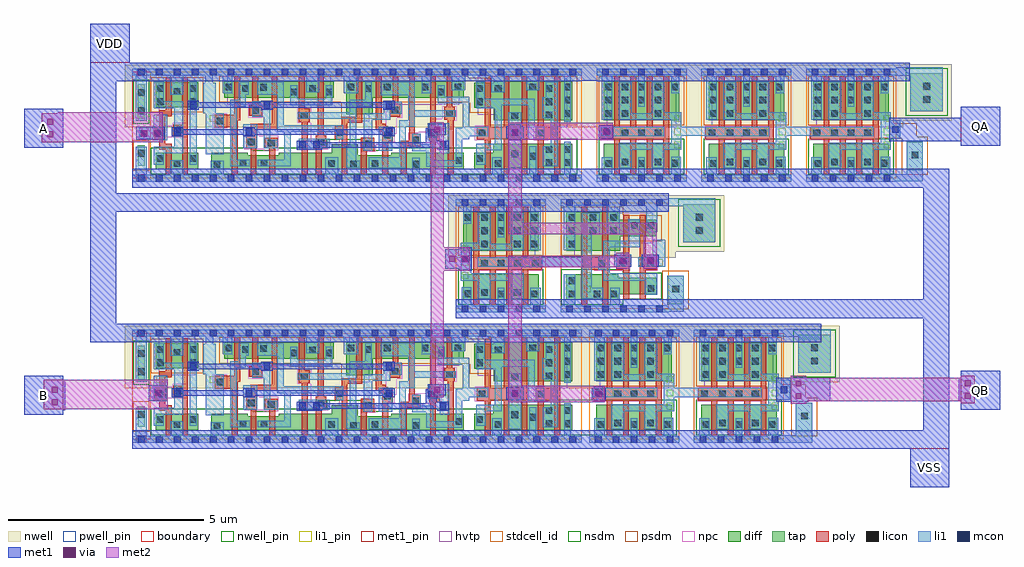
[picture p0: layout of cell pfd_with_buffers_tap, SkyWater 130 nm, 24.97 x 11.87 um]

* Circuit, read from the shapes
.subckt pfd_with_buffers_tap A B QA QB VDD VSS
XM1 VSS B n1 VSS sky130_fd_pr__nfet_01v8 w=0.42 l=0.15
XM2 VSS A n2 VSS sky130_fd_pr__nfet_01v8 w=0.42 l=0.15
XM3 n3 n1 VSS VSS sky130_fd_pr__nfet_01v8 w=0.42 l=0.15
XM4 n4 n2 VSS VSS sky130_fd_pr__nfet_01v8 w=0.42 l=0.15
XM5 n5 VDD VSS VSS sky130_fd_pr__nfet_01v8 w=0.42 l=0.15
XM6 n6 VDD VSS VSS sky130_fd_pr__nfet_01v8 w=0.42 l=0.15
XM7 n7 n1 n5 VSS sky130_fd_pr__nfet_01v8 w=0.36 l=0.15
XM8 n8 n2 n6 VSS sky130_fd_pr__nfet_01v8 w=0.36 l=0.15
XM9 n9 n3 n7 VSS sky130_fd_pr__nfet_01v8 w=0.36 l=0.15
XM10 n10 n4 n8 VSS sky130_fd_pr__nfet_01v8 w=0.36 l=0.15
XM11 n11 n12 n9 VSS sky130_fd_pr__nfet_01v8 w=0.42 l=0.15
XM12 n13 n14 n10 VSS sky130_fd_pr__nfet_01v8 w=0.42 l=0.15
XM13 VSS sky130_fd_sc_hd__dfrbp_2#0_1/RESET_B n11 VSS sky130_fd_pr__nfet_01v8 w=0.42 l=0.15
XM14 VSS sky130_fd_sc_hd__dfrbp_2#0_1/RESET_B n13 VSS sky130_fd_pr__nfet_01v8 w=0.42 l=0.15
XM15 n12 n7 VSS VSS sky130_fd_pr__nfet_01v8 w=0.64 l=0.15
XM16 n14 n8 VSS VSS sky130_fd_pr__nfet_01v8 w=0.64 l=0.15
XM17 n15 n3 n12 VSS sky130_fd_pr__nfet_01v8 w=0.36 l=0.15
XM18 n16 n4 n14 VSS sky130_fd_pr__nfet_01v8 w=0.36 l=0.15
XM19 n17 n1 n15 VSS sky130_fd_pr__nfet_01v8 w=0.36 l=0.15
XM20 n18 n2 n16 VSS sky130_fd_pr__nfet_01v8 w=0.36 l=0.15
XM21 VSS n19 n17 VSS sky130_fd_pr__nfet_01v8 w=0.42 l=0.15
XM22 VSS n20 n18 VSS sky130_fd_pr__nfet_01v8 w=0.42 l=0.15
XM23 n21 sky130_fd_sc_hd__dfrbp_2#0_1/RESET_B VSS VSS sky130_fd_pr__nfet_01v8 w=0.42 l=0.15
XM24 n22 sky130_fd_sc_hd__dfrbp_2#0_1/RESET_B VSS VSS sky130_fd_pr__nfet_01v8 w=0.42 l=0.15
XM25 n19 n15 n21 VSS sky130_fd_pr__nfet_01v8 w=0.42 l=0.15
XM26 n20 n16 n22 VSS sky130_fd_pr__nfet_01v8 w=0.42 l=0.15
XM27 sky130_fd_sc_hd__dfrbp_2#0_1/RESET_B sky130_fd_sc_hd__inv_4#0_5/A VSS VSS sky130_fd_pr__nfet_01v8 w=0.65 l=0.15 m=4
XM28 VSS n19 n23 VSS sky130_fd_pr__nfet_01v8 w=0.42 l=0.15
XM29 VSS n20 n24 VSS sky130_fd_pr__nfet_01v8 w=0.42 l=0.15
XM30 sky130_fd_sc_hd__inv_4#0_2/A n19 VSS VSS sky130_fd_pr__nfet_01v8 w=0.65 l=0.15 m=2
XM31 sky130_fd_sc_hd__and2_2#0_4/A n20 VSS VSS sky130_fd_pr__nfet_01v8 w=0.65 l=0.15 m=2
XM32 sky130_fd_sc_hd__dfrbp_2#0_1/Q_N n23 VSS VSS sky130_fd_pr__nfet_01v8 w=0.65 l=0.15 m=2
XM33 sky130_fd_sc_hd__dfrbp_2#0_7/Q_N n24 VSS VSS sky130_fd_pr__nfet_01v8 w=0.65 l=0.15 m=2
XM34 sky130_fd_sc_hd__inv_4#0_5/A n25 VSS VSS sky130_fd_pr__nfet_01v8 w=0.65 l=0.15 m=2
XM35 sky130_fd_sc_hd__inv_4#0_3/A sky130_fd_sc_hd__inv_4#0_2/A VSS VSS sky130_fd_pr__nfet_01v8 w=0.65 l=0.15 m=4
XM36 sky130_fd_sc_hd__inv_4#0_9/A sky130_fd_sc_hd__and2_2#0_4/A VSS VSS sky130_fd_pr__nfet_01v8 w=0.65 l=0.15 m=4
XM37 n26 sky130_fd_sc_hd__inv_4#0_2/A VSS VSS sky130_fd_pr__nfet_01v8 w=0.42 l=0.15
XM38 n25 sky130_fd_sc_hd__and2_2#0_4/A n26 VSS sky130_fd_pr__nfet_01v8 w=0.42 l=0.15
XM39 QB sky130_fd_sc_hd__inv_4#0_3/A VSS VSS sky130_fd_pr__nfet_01v8 w=0.65 l=0.15 m=4
XM40 sky130_fd_sc_hd__inv_4#0_10/A sky130_fd_sc_hd__inv_4#0_9/A VSS VSS sky130_fd_pr__nfet_01v8 w=0.65 l=0.15 m=4
XM41 QA sky130_fd_sc_hd__inv_4#0_10/A VSS VSS sky130_fd_pr__nfet_01v8 w=0.65 l=0.15 m=4
XM42 VDD B n1 VDD sky130_fd_pr__pfet_01v8_hvt w=0.64 l=0.15
XM43 VDD A n2 VDD sky130_fd_pr__pfet_01v8_hvt w=0.64 l=0.15
XM44 n3 n1 VDD VDD sky130_fd_pr__pfet_01v8_hvt w=0.64 l=0.15
XM45 n4 n2 VDD VDD sky130_fd_pr__pfet_01v8_hvt w=0.64 l=0.15
XM46 n5 VDD VDD VDD sky130_fd_pr__pfet_01v8_hvt w=0.42 l=0.15
XM47 n6 VDD VDD VDD sky130_fd_pr__pfet_01v8_hvt w=0.42 l=0.15
XM48 n7 n3 n5 VDD sky130_fd_pr__pfet_01v8_hvt w=0.42 l=0.15
XM49 n8 n4 n6 VDD sky130_fd_pr__pfet_01v8_hvt w=0.42 l=0.15
XM50 n27 n1 n7 VDD sky130_fd_pr__pfet_01v8_hvt w=0.42 l=0.15
XM51 n28 n2 n8 VDD sky130_fd_pr__pfet_01v8_hvt w=0.42 l=0.15
XM52 VDD n12 n27 VDD sky130_fd_pr__pfet_01v8_hvt w=0.42 l=0.15
XM53 VDD n14 n28 VDD sky130_fd_pr__pfet_01v8_hvt w=0.42 l=0.15
XM54 n27 sky130_fd_sc_hd__dfrbp_2#0_1/RESET_B VDD VDD sky130_fd_pr__pfet_01v8_hvt w=0.42 l=0.15
XM55 n28 sky130_fd_sc_hd__dfrbp_2#0_1/RESET_B VDD VDD sky130_fd_pr__pfet_01v8_hvt w=0.42 l=0.15
XM56 n12 n7 VDD VDD sky130_fd_pr__pfet_01v8_hvt w=0.84 l=0.15
XM57 n14 n8 VDD VDD sky130_fd_pr__pfet_01v8_hvt w=0.84 l=0.15
XM58 n15 n1 n12 VDD sky130_fd_pr__pfet_01v8_hvt w=0.42 l=0.15
XM59 n16 n2 n14 VDD sky130_fd_pr__pfet_01v8_hvt w=0.42 l=0.15
XM60 n29 n3 n15 VDD sky130_fd_pr__pfet_01v8_hvt w=0.42 l=0.15
XM61 n30 n4 n16 VDD sky130_fd_pr__pfet_01v8_hvt w=0.42 l=0.15
XM62 VDD n19 n29 VDD sky130_fd_pr__pfet_01v8_hvt w=0.42 l=0.15
XM63 VDD n20 n30 VDD sky130_fd_pr__pfet_01v8_hvt w=0.42 l=0.15
XM64 n19 sky130_fd_sc_hd__dfrbp_2#0_1/RESET_B VDD VDD sky130_fd_pr__pfet_01v8_hvt w=0.42 l=0.15
XM65 n20 sky130_fd_sc_hd__dfrbp_2#0_1/RESET_B VDD VDD sky130_fd_pr__pfet_01v8_hvt w=0.42 l=0.15
XM66 VDD n15 n19 VDD sky130_fd_pr__pfet_01v8_hvt w=0.42 l=0.15
XM67 VDD n16 n20 VDD sky130_fd_pr__pfet_01v8_hvt w=0.42 l=0.15
XM68 sky130_fd_sc_hd__dfrbp_2#0_1/RESET_B sky130_fd_sc_hd__inv_4#0_5/A VDD VDD sky130_fd_pr__pfet_01v8_hvt w=1 l=0.15 m=4
XM69 VDD n19 n23 VDD sky130_fd_pr__pfet_01v8_hvt w=0.64 l=0.15
XM70 VDD n20 n24 VDD sky130_fd_pr__pfet_01v8_hvt w=0.64 l=0.15
XM71 sky130_fd_sc_hd__inv_4#0_2/A n19 VDD VDD sky130_fd_pr__pfet_01v8_hvt w=1 l=0.15 m=2
XM72 sky130_fd_sc_hd__and2_2#0_4/A n20 VDD VDD sky130_fd_pr__pfet_01v8_hvt w=1 l=0.15 m=2
XM73 sky130_fd_sc_hd__dfrbp_2#0_1/Q_N n23 VDD VDD sky130_fd_pr__pfet_01v8_hvt w=1 l=0.15 m=2
XM74 sky130_fd_sc_hd__dfrbp_2#0_7/Q_N n24 VDD VDD sky130_fd_pr__pfet_01v8_hvt w=1 l=0.15 m=2
XM75 sky130_fd_sc_hd__inv_4#0_5/A n25 VDD VDD sky130_fd_pr__pfet_01v8_hvt w=1 l=0.15 m=2
XM76 sky130_fd_sc_hd__inv_4#0_3/A sky130_fd_sc_hd__inv_4#0_2/A VDD VDD sky130_fd_pr__pfet_01v8_hvt w=1 l=0.15 m=4
XM77 sky130_fd_sc_hd__inv_4#0_9/A sky130_fd_sc_hd__and2_2#0_4/A VDD VDD sky130_fd_pr__pfet_01v8_hvt w=1 l=0.15 m=4
XM78 n25 sky130_fd_sc_hd__inv_4#0_2/A VDD VDD sky130_fd_pr__pfet_01v8_hvt w=0.42 l=0.15
XM79 VDD sky130_fd_sc_hd__and2_2#0_4/A n25 VDD sky130_fd_pr__pfet_01v8_hvt w=0.42 l=0.15
XM80 QB sky130_fd_sc_hd__inv_4#0_3/A VDD VDD sky130_fd_pr__pfet_01v8_hvt w=1 l=0.15 m=4
XM81 sky130_fd_sc_hd__inv_4#0_10/A sky130_fd_sc_hd__inv_4#0_9/A VDD VDD sky130_fd_pr__pfet_01v8_hvt w=1 l=0.15 m=4
XM82 QA sky130_fd_sc_hd__inv_4#0_10/A VDD VDD sky130_fd_pr__pfet_01v8_hvt w=1 l=0.15 m=4
.ends

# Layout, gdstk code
from math import pi, radians
import gdstk
lib = gdstk.Library(unit=1e-6, precision=1e-09)
def R(c, l, rs):  # rectangles x0, y0, x1, y1
    for r in rs: c.add(gdstk.rectangle(r[:2], r[2:], *l))
def A(c, l, x, y, w, h, nx, ny, dx, dy):  # array of equal rectangles
    R(c, l, [(x+i*dx, y+j*dy, x+i*dx+w, y+j*dy+h) for i in range(nx) for j in range(ny)])
nwell_pin = (64, 16)
nwell = (64, 20)
diff = (65, 20)
tap = (65, 44)
poly = (66, 20)
licon = (66, 44)
li1_pin = (67, 16)
li1 = (67, 20)
mcon = (67, 44)
met1_pin = (68, 16)
met1 = (68, 20)
via = (68, 44)
met2 = (69, 20)
hvtp = (78, 44)
stdcell_id = (81, 4)
nsdm = (93, 44)
psdm = (94, 20)
npc = (95, 20)
pwell_pin = (122, 16)
boundary = (235, 4)

sky130_fd_sc_hd__tapvpwr = lib.new_cell('sky130_fd_sc_hd__tapvpwrvgnd_1')
R(sky130_fd_sc_hd__tapvpwr, nwell, [(-0.19,1.305,0.65,2.91)])
R(sky130_fd_sc_hd__tapvpwr, tap, [(0.145,0.32,0.315,0.845), (0.145,1.525,0.315,2.4)])
R(sky130_fd_sc_hd__tapvpwr, licon, [(0.145,0.555,0.315,0.725), (0.145,1.645,0.315,1.815), (0.145,2.11,0.315,2.28)])
R(sky130_fd_sc_hd__tapvpwr, li1, [(0,-0.085,0.46,0.085), (0.085,0.085,0.375,0.81), (0.085,1.47,0.375,2.635), (0,2.635,0.46,2.805)])
R(sky130_fd_sc_hd__tapvpwr, mcon, [(0.145,-0.085,0.315,0.085), (0.145,2.635,0.315,2.805)])
R(sky130_fd_sc_hd__tapvpwr, met1_pin, [(0.105,-0.09,0.36,0.1), (0.11,2.62,0.375,2.765)])
R(sky130_fd_sc_hd__tapvpwr, met1, [(0,-0.24,0.46,0.24), (0,2.48,0.46,2.96)])
R(sky130_fd_sc_hd__tapvpwr, nsdm, [(0.02,1.4,0.44,2.525)])
R(sky130_fd_sc_hd__tapvpwr, psdm, [(0.02,0.195,0.44,0.97)])
R(sky130_fd_sc_hd__tapvpwr, boundary, [(0,0,0.46,2.72)])
sky130_fd_sc_hd__tapvpwr.add(gdstk.Label('VGND', (0.232,0.005), layer=68, texttype=5))
sky130_fd_sc_hd__tapvpwr.add(gdstk.Label('VPWR', (0.242,2.692), layer=68, texttype=5))

sky130_fd_sc_hd__dfrbp_2 = lib.new_cell('sky130_fd_sc_hd__dfrbp_2#0')
R(sky130_fd_sc_hd__dfrbp_2, nwell_pin, [(0.145,2.635,0.315,2.805)])
R(sky130_fd_sc_hd__dfrbp_2, nwell, [(-0.19,1.305,11.23,2.91)])
R(sky130_fd_sc_hd__dfrbp_2, diff, [(0.135,0.235,1.225,0.655), (1.565,0.235,8.025,0.595), (8.295,0.235,10.8,0.655), (1.565,0.595,2.49,0.655), (3.285,0.595,5.315,0.655), (6.165,0.595,8.025,0.655), (4.645,0.655,5.315,0.875), (8.78,0.655,10.8,0.885), (8.79,1.485,10.8,1.805), (5.015,1.645,5.695,2.065), (8.295,1.805,10.8,2.445), (0.135,1.815,1.225,2.455), (1.89,2.065,4.7,2.485), (5.015,2.065,8.015,2.485), (8.79,2.445,10.8,2.485)])
A(sky130_fd_sc_hd__dfrbp_2, poly, 9.5, 0.105, 0.15, 0.89, 3, 1, 0.42, 0)
A(sky130_fd_sc_hd__dfrbp_2, poly, 9.5, 1.325, 0.15, 1.29, 3, 1, 0.42, 0)
R(sky130_fd_sc_hd__dfrbp_2, poly, [(0.395,0.105,0.545,0.73), (0.815,0.105,0.965,1.1), (2.09,0.105,2.24,1.3), (2.565,0.105,2.715,0.765), (3.045,0.105,3.195,0.765), (3.875,0.105,4.025,1.445), (4.235,0.105,4.385,0.765), (4.895,0.105,5.045,1.005), (5.39,0.105,5.54,0.705), (5.935,0.105,6.085,0.945), (6.415,0.105,6.565,0.815), (7.16,0.105,7.31,0.955), (7.615,0.105,7.765,1.495), (8.555,0.105,8.705,0.995), (9.04,0.105,9.19,0.995), (5.39,0.705,5.725,1.035), (0.23,0.73,0.545,0.88), (2.45,0.765,2.72,1.095), (2.93,0.765,3.26,1.035), (4.235,0.765,4.505,1.095), (6.415,0.815,6.925,0.965), (0.23,0.88,0.38,0.995), (5.935,0.945,6.205,1.185), (7.135,0.955,7.405,1.285), (6.62,0.965,6.925,1.145), (0.11,0.995,0.38,1.325), (8.35,0.995,9.65,1.325), (9.86,0.995,10.49,1.325), (4.715,1.005,5.045,1.335), (2.565,1.095,2.72,1.245), (4.29,1.095,4.44,2.615), (0.59,1.1,0.965,1.37), (6.62,1.145,6.77,2.615), (5.875,1.185,6.205,1.245), (2.565,1.245,3.255,1.395), (5.77,1.245,6.205,1.275), (5.77,1.275,6.085,1.335), (7.16,1.285,7.31,2.615), (1.655,1.3,2.24,1.48), (0.23,1.325,0.38,1.59), (8.555,1.325,8.705,2.575), (9.04,1.325,9.19,2.615), (4.895,1.335,5.045,1.42), (5.77,1.335,6.02,1.395), (0.815,1.37,0.965,2.585), (3.105,1.395,3.255,2.615), (5.77,1.395,5.92,2.615), (4.895,1.42,5.425,1.57), (3.805,1.445,4.08,1.775), (1.655,1.48,2.3,1.63), (7.52,1.495,7.79,1.825), (5.275,1.57,5.425,2.615), (6.13,1.575,6.4,1.905), (0.23,1.59,0.545,1.74), (2.53,1.605,2.86,1.875), (2.15,1.63,2.3,2.615), (0.395,1.74,0.545,2.585), (3.805,1.775,3.955,2.615), (7.58,1.825,7.73,2.615), (2.61,1.875,2.76,2.615), (6.2,1.905,6.35,2.615)])
A(sky130_fd_sc_hd__dfrbp_2, licon, 10.12, 1.535, 0.17, 0.17, 1, 3, 0, 0.34)
A(sky130_fd_sc_hd__dfrbp_2, licon, 10.59, 1.575, 0.17, 0.17, 1, 3, 0, 0.34)
R(sky130_fd_sc_hd__dfrbp_2, licon, [(1.625,0.275,1.795,0.445), (5.115,0.275,5.285,0.445), (6.725,0.275,6.895,0.445), (0.595,0.295,0.765,0.465), (4.555,0.295,4.725,0.465), (5.665,0.295,5.835,0.465), (8.82,0.295,8.99,0.465), (2.29,0.305,2.46,0.475), (2.825,0.305,2.995,0.475), (10.12,0.315,10.29,0.485), (10.59,0.315,10.76,0.485), (7.815,0.375,7.985,0.545), (0.175,0.425,0.345,0.595), (1.015,0.425,1.185,0.595), (8.335,0.425,8.505,0.595), (9.7,0.48,9.87,0.65), (9.24,0.545,9.41,0.715), (10.12,0.655,10.29,0.825), (10.59,0.655,10.76,0.825), (5.505,0.785,5.675,0.955), (3.01,0.815,3.18,0.985), (2.5,0.845,2.67,1.015), (4.285,0.845,4.455,1.015), (6.705,0.895,6.875,1.065), (5.985,1.025,6.155,1.195), (7.185,1.035,7.355,1.205), (0.16,1.075,0.33,1.245), (8.4,1.075,8.57,1.245), (9.91,1.075,10.08,1.245), (4.765,1.085,4.935,1.255), (0.67,1.15,0.84,1.32), (1.705,1.38,1.875,1.55), (3.855,1.525,4.025,1.695), (9.24,1.525,9.41,1.695), (7.57,1.575,7.74,1.745), (2.61,1.655,2.78,1.825), (6.18,1.655,6.35,1.825), (0.175,1.875,0.345,2.045), (1.015,1.875,1.185,2.045), (8.335,1.875,8.505,2.045), (3.585,2.125,3.755,2.295), (4.49,2.125,4.66,2.295), (7.36,2.125,7.53,2.295), (0.595,2.135,0.765,2.305), (4.07,2.205,4.24,2.375), (8.82,2.205,8.99,2.375), (0.175,2.215,0.345,2.385), (1.015,2.215,1.185,2.385), (2.35,2.215,2.52,2.385), (5.495,2.215,5.665,2.385), (8.335,2.215,8.505,2.385), (2.815,2.245,2.985,2.415), (5.98,2.25,6.15,2.42), (1.93,2.255,2.1,2.425), (5.055,2.255,5.225,2.425), (6.94,2.255,7.11,2.425), (7.79,2.255,7.96,2.425), (9.7,2.255,9.87,2.425)])
R(sky130_fd_sc_hd__dfrbp_2, li1_pin, [(7.405,0.765,7.575,0.935), (9.255,1.065,9.415,1.245), (0.15,1.105,0.32,1.275), (7.405,1.105,7.575,1.275), (10.275,1.11,10.39,1.285), (0.15,1.445,0.32,1.615), (1.525,1.445,1.695,1.615)])
R(sky130_fd_sc_hd__dfrbp_2, li1, [(0,-0.085,11.04,0.085), (0.515,0.085,0.845,0.465), (1.545,0.085,1.875,0.445), (4.475,0.085,4.805,0.545), (6.705,0.085,6.895,0.525), (8.755,0.085,8.99,0.545), (9.7,0.085,9.87,0.825), (10.59,0.085,10.76,0.93), (5.585,0.255,6.535,0.535), (9.16,0.265,9.495,1.695), (5.015,0.275,5.365,0.445), (7.065,0.295,7.985,0.465), (2.045,0.305,2.54,0.475), (2.745,0.305,3.6,0.475), (10.04,0.31,10.42,0.825), (0.09,0.345,0.345,0.635), (1.015,0.345,1.185,2.465), (8.335,0.345,8.585,0.715), (5.015,0.445,5.275,0.835), (7.065,0.465,7.235,0.695), (7.815,0.465,7.985,0.995), (2.045,0.475,2.215,1.835), (3.43,0.475,3.6,1.185), (6.365,0.535,6.535,1.315), (1.415,0.615,1.875,1.665), (0.09,0.635,0.84,0.805), (7.405,0.635,7.645,1.035), (6.705,0.695,7.235,0.865), (5.465,0.705,5.675,1.495), (5.845,0.705,6.195,1.325), (8.335,0.715,8.99,0.885), (2.385,0.765,2.735,1.385), (2.905,0.765,3.26,0.985), (3.805,0.765,4.595,1.015), (0.61,0.805,0.84,1.795), (10.25,0.825,10.42,1.535), (5.105,0.835,5.275,1.525), (6.705,0.865,6.925,1.145), (8.82,0.885,8.99,1.795), (0.09,0.975,0.44,1.625), (2.905,0.985,3.075,1.575), (7.815,0.995,8.16,1.075), (9.665,0.995,10.08,1.325), (4.765,1.005,4.935,1.185), (7.105,1.035,7.645,1.405), (7.815,1.075,8.65,1.295), (3.245,1.185,4.935,1.355), (7.99,1.295,8.65,1.325), (6.365,1.315,6.77,1.485), (7.99,1.325,8.16,1.915), (9.665,1.325,9.835,1.865), (3.245,1.355,3.415,2.135), (10.59,1.445,10.76,2.635), (6.6,1.485,6.77,1.575), (5.465,1.495,6.14,1.655), (3.775,1.525,5.275,1.695), (10.03,1.535,10.42,2.08), (2.61,1.575,3.075,1.965), (6.6,1.575,7.82,1.745), (5.465,1.655,6.43,1.665), (1.355,1.665,1.68,2.45), (5.97,1.665,6.43,1.955), (5.105,1.695,5.275,1.835), (6.6,1.745,6.77,2.125), (0.09,1.795,0.84,1.965), (8.335,1.795,8.99,1.865), (2.045,1.835,2.44,2.005), (5.105,1.835,5.665,2.005), (3.585,1.865,4.66,2.035), (8.335,1.865,9.835,2.035), (7.36,1.915,8.16,2.085), (0.09,1.965,0.345,2.465), (2.27,2.005,2.44,2.135), (5.495,2.005,5.665,2.465), (3.585,2.035,3.755,2.375), (4.49,2.035,4.66,2.375), (8.335,2.035,8.56,2.465), (10.12,2.08,10.42,2.465), (7.36,2.085,7.53,2.375), (5.9,2.125,6.77,2.465), (0.515,2.135,0.845,2.635), (2.27,2.135,2.52,2.465), (2.735,2.135,3.415,2.465), (1.85,2.175,2.1,2.635), (4.955,2.175,5.325,2.635), (6.94,2.175,7.19,2.635), (3.99,2.205,4.32,2.635), (8.73,2.205,9.07,2.635), (7.71,2.255,8.055,2.635), (9.62,2.255,9.95,2.635), (0,2.635,11.04,2.805)])
A(sky130_fd_sc_hd__dfrbp_2, mcon, 0.145, -0.085, 0.17, 0.17, 24, 2, 0.46, 2.72)
R(sky130_fd_sc_hd__dfrbp_2, mcon, [(3.805,0.765,3.975,0.935), (4.165,0.765,4.335,0.935), (7.405,0.765,7.575,0.935), (7.105,1.08,7.275,1.25), (0.61,1.105,0.78,1.275), (2.445,1.105,2.615,1.275), (6.025,1.105,6.195,1.275), (1.015,1.785,1.185,1.955), (2.905,1.785,3.075,1.955), (6.025,1.785,6.195,1.955)])
R(sky130_fd_sc_hd__dfrbp_2, met1_pin, [(0.145,-0.085,0.315,0.085), (0.145,2.635,0.315,2.805)])
R(sky130_fd_sc_hd__dfrbp_2, met1, [(0,-0.24,11.04,0.24), (3.745,0.735,4.395,0.78), (7.345,0.735,7.635,0.78), (3.745,0.78,7.635,0.92), (3.745,0.92,4.395,0.965), (7.045,0.92,7.635,0.965), (7.045,0.965,7.335,1.28), (0.55,1.075,0.84,1.12), (2.385,1.075,2.675,1.12), (5.965,1.075,6.255,1.12), (0.55,1.12,6.255,1.26), (0.55,1.26,0.84,1.305), (2.385,1.26,2.675,1.305), (5.965,1.26,6.255,1.305), (0.955,1.755,1.245,1.8), (2.845,1.755,3.135,1.8), (5.965,1.755,6.255,1.8), (0.955,1.8,6.255,1.94), (0.955,1.94,1.245,1.985), (2.845,1.94,3.135,1.985), (5.965,1.94,6.255,1.985), (0,2.48,11.04,2.96)])
R(sky130_fd_sc_hd__dfrbp_2, hvtp, [(8.86,1.305,10.67,1.625), (5.095,1.465,5.605,1.885), (8.375,1.625,10.67,2.625), (0.215,1.635,1.145,2.635), (1.97,1.885,4.62,2.665), (5.095,1.885,7.91,2.665), (8.86,2.625,10.67,2.665)])
R(sky130_fd_sc_hd__dfrbp_2, stdcell_id, [(0,0,11.04,2.72)])
R(sky130_fd_sc_hd__dfrbp_2, nsdm, [(0.01,0.11,10.925,0.72), (0.01,0.72,2.615,0.78), (3.16,0.72,5.44,0.78), (6.04,0.72,10.925,0.78), (4.52,0.78,5.44,1), (8.655,0.78,10.925,1.01)])
R(sky130_fd_sc_hd__dfrbp_2, psdm, [(8.665,1.36,10.925,1.68), (4.89,1.52,5.82,1.94), (8.17,1.68,10.925,1.94), (0.01,1.69,1.35,2.58), (1.765,1.94,10.925,2.57), (1.765,2.57,8.14,2.61), (8.665,2.57,10.925,2.61)])
R(sky130_fd_sc_hd__dfrbp_2, npc, [(5.405,0.685,5.775,0.855), (2.91,0.715,3.28,0.745), (2.4,0.745,3.28,1.085), (4.185,0.745,4.555,0.915), (6.605,0.795,6.975,0.915), (5.405,0.855,6.07,0.925), (4.11,0.915,4.85,0.985), (6.605,0.915,7.19,0.935), (5.405,0.925,6.255,1.055), (6.605,0.935,7.455,1.165), (0.06,0.975,0.43,1.05), (8.3,0.975,8.67,1.345), (9.81,0.975,10.18,1.345), (4.11,0.985,5.035,1.185), (0.06,1.05,0.94,1.345), (5.59,1.055,6.255,1.125), (2.4,1.085,2.77,1.115), (5.885,1.125,6.255,1.14), (5.885,1.14,6.305,1.295), (6.87,1.165,7.455,1.185), (4.11,1.185,4.385,1.425), (4.665,1.185,5.035,1.355), (7.085,1.185,7.455,1.255), (7.085,1.255,7.74,1.305), (1.605,1.28,1.975,1.65), (6.03,1.295,6.305,1.555), (7.185,1.305,7.74,1.475), (0.57,1.345,0.94,1.42), (3.755,1.425,4.385,1.695), (7.185,1.475,7.84,1.525), (7.47,1.525,7.84,1.845), (2.51,1.555,2.88,1.925), (6.03,1.555,6.45,1.71), (3.755,1.695,4.125,1.795), (6.08,1.71,6.45,1.925)])
R(sky130_fd_sc_hd__dfrbp_2, pwell_pin, [(0.145,-0.085,0.315,0.085)])
R(sky130_fd_sc_hd__dfrbp_2, boundary, [(0,0,11.04,2.72)])
sky130_fd_sc_hd__dfrbp_2.add(gdstk.Label('VGND', (0.23,0), layer=68, texttype=5))
sky130_fd_sc_hd__dfrbp_2.add(gdstk.Label('VPWR', (0.23,2.72), layer=68, texttype=5))
sky130_fd_sc_hd__dfrbp_2.add(gdstk.Label('VNB', (0.23,0), layer=64, texttype=59))
sky130_fd_sc_hd__dfrbp_2.add(gdstk.Label('VPB', (0.23,2.72), layer=64, texttype=5))
sky130_fd_sc_hd__dfrbp_2.add(gdstk.Label('CLK', (0.235,1.53), layer=67, texttype=5))
sky130_fd_sc_hd__dfrbp_2.add(gdstk.Label('CLK', (0.235,1.19), layer=67, texttype=5))
sky130_fd_sc_hd__dfrbp_2.add(gdstk.Label('D', (1.61,1.53), layer=67, texttype=5))
sky130_fd_sc_hd__dfrbp_2.add(gdstk.Label('RESET_B', (7.49,0.85), layer=67, texttype=5))
sky130_fd_sc_hd__dfrbp_2.add(gdstk.Label('RESET_B', (7.49,1.19), layer=67, texttype=5))
sky130_fd_sc_hd__dfrbp_2.add(gdstk.Label('Q_N', (10.332,1.197), layer=67, texttype=5))
sky130_fd_sc_hd__dfrbp_2.add(gdstk.Label('Q', (9.335,1.155), layer=67, texttype=5))

sky130_fd_sc_hd__inv_4_0 = lib.new_cell('sky130_fd_sc_hd__inv_4#0')
R(sky130_fd_sc_hd__inv_4_0, nwell_pin, [(0.145,2.635,0.315,2.805)])
R(sky130_fd_sc_hd__inv_4_0, nwell, [(-0.19,1.305,2.49,2.91)])
R(sky130_fd_sc_hd__inv_4_0, diff, [(0.185,0.235,2.115,0.885), (0.185,1.485,2.115,2.485)])
A(sky130_fd_sc_hd__inv_4_0, poly, 0.445, 0.105, 0.15, 0.89, 4, 1, 0.42, 0)
A(sky130_fd_sc_hd__inv_4_0, poly, 0.445, 1.325, 0.15, 1.29, 4, 1, 0.42, 0)
R(sky130_fd_sc_hd__inv_4_0, poly, [(0.105,0.995,1.855,1.325)])
A(sky130_fd_sc_hd__inv_4_0, licon, 0.645, 1.075, 0.17, 0.17, 3, 1, 0.42, 0)
A(sky130_fd_sc_hd__inv_4_0, licon, 0.225, 1.915, 0.17, 0.17, 4, 1, 0.42, 0)
A(sky130_fd_sc_hd__inv_4_0, licon, 0.225, 2.255, 0.17, 0.17, 5, 1, 0.42, 0)
R(sky130_fd_sc_hd__inv_4_0, licon, [(0.225,0.295,0.395,0.465), (1.065,0.295,1.235,0.465), (1.905,0.3,2.075,0.47), (0.645,0.335,0.815,0.505), (1.485,0.335,1.655,0.505), (0.185,1.075,0.355,1.245), (0.225,1.575,0.395,1.745), (0.645,1.575,0.815,1.745), (1.485,1.575,1.655,1.745)])
A(sky130_fd_sc_hd__inv_4_0, li1_pin, 0.145, 1.105, 0.17, 0.17, 5, 1, 0.46, 0)
R(sky130_fd_sc_hd__inv_4_0, li1_pin, [(1.985,0.765,2.155,0.935), (1.985,1.445,2.155,1.615)])
R(sky130_fd_sc_hd__inv_4_0, li1, [(0,-0.085,2.3,0.085), (0.13,0.085,0.395,0.545), (1.065,0.085,1.235,0.545), (1.905,0.085,2.155,0.55), (0.565,0.255,0.895,0.725), (1.405,0.255,1.735,0.725), (0.565,0.725,2.17,0.905), (1.905,0.905,2.17,1.495), (0.105,1.075,1.735,1.325), (0.13,1.495,0.395,2.635), (0.565,1.495,2.17,1.665), (0.565,1.665,0.895,2.465), (1.405,1.665,2.17,1.685), (1.405,1.685,1.735,2.465), (1.065,1.835,1.235,2.635), (1.905,2.175,2.115,2.635), (0,2.635,2.3,2.805)])
A(sky130_fd_sc_hd__inv_4_0, mcon, 0.145, -0.085, 0.17, 0.17, 5, 2, 0.46, 2.72)
R(sky130_fd_sc_hd__inv_4_0, met1_pin, [(0.145,-0.085,0.315,0.085), (0.145,2.635,0.315,2.805)])
R(sky130_fd_sc_hd__inv_4_0, met1, [(0,-0.24,2.3,0.24), (0,2.48,2.3,2.96)])
R(sky130_fd_sc_hd__inv_4_0, hvtp, [(0.265,1.305,2.035,2.665)])
R(sky130_fd_sc_hd__inv_4_0, stdcell_id, [(0,0,2.3,2.72)])
R(sky130_fd_sc_hd__inv_4_0, nsdm, [(0.06,0.11,2.24,1.01)])
R(sky130_fd_sc_hd__inv_4_0, psdm, [(0.06,1.36,2.24,2.61)])
R(sky130_fd_sc_hd__inv_4_0, npc, [(0.085,0.975,1.755,1.345)])
R(sky130_fd_sc_hd__inv_4_0, pwell_pin, [(0.145,-0.085,0.315,0.085)])
R(sky130_fd_sc_hd__inv_4_0, boundary, [(0,0,2.3,2.72)])
sky130_fd_sc_hd__inv_4_0.add(gdstk.Label('VPWR', (0.23,2.72), layer=68, texttype=5))
sky130_fd_sc_hd__inv_4_0.add(gdstk.Label('VGND', (0.23,0), layer=68, texttype=5))
sky130_fd_sc_hd__inv_4_0.add(gdstk.Label('VNB', (0.23,0), layer=64, texttype=59))
sky130_fd_sc_hd__inv_4_0.add(gdstk.Label('VPB', (0.23,2.72), layer=64, texttype=5))
sky130_fd_sc_hd__inv_4_0.add(gdstk.Label('Y', (2.07,0.85), layer=67, texttype=5))
sky130_fd_sc_hd__inv_4_0.add(gdstk.Label('Y', (2.07,1.19), layer=67, texttype=5))
sky130_fd_sc_hd__inv_4_0.add(gdstk.Label('Y', (2.07,1.53), layer=67, texttype=5))
sky130_fd_sc_hd__inv_4_0.add(gdstk.Label('A', (0.23,1.19), layer=67, texttype=5))
sky130_fd_sc_hd__inv_4_0.add(gdstk.Label('A', (0.69,1.19), layer=67, texttype=5))
sky130_fd_sc_hd__inv_4_0.add(gdstk.Label('A', (1.15,1.19), layer=67, texttype=5))
sky130_fd_sc_hd__inv_4_0.add(gdstk.Label('A', (1.61,1.19), layer=67, texttype=5))

sky130_fd_sc_hd__and2_2_ = lib.new_cell('sky130_fd_sc_hd__and2_2#0')
R(sky130_fd_sc_hd__and2_2_, nwell_pin, [(0.145,2.635,0.315,2.805)])
R(sky130_fd_sc_hd__and2_2_, nwell, [(-0.19,1.305,2.95,2.91)])
R(sky130_fd_sc_hd__and2_2_, diff, [(1.285,0.235,2.615,0.375), (0.305,0.375,2.615,0.795), (1.285,0.795,2.615,0.885), (1.235,1.485,2.615,1.855), (0.305,1.855,2.615,2.275), (1.285,2.275,2.615,2.485)])
R(sky130_fd_sc_hd__and2_2_, poly, [(1.545,0.105,1.695,0.995), (2.085,0.105,2.235,0.995), (0.585,0.245,0.735,0.995), (1.005,0.245,1.155,0.995), (0.3,0.995,0.735,1.325), (1.005,0.995,1.335,1.325), (1.545,0.995,2.235,1.325), (0.585,1.325,0.735,2.405), (1.005,1.325,1.155,2.405), (1.545,1.325,1.695,2.615), (2.085,1.325,2.235,2.615)])
A(sky130_fd_sc_hd__and2_2_, licon, 2.385, 1.575, 0.17, 0.17, 1, 3, 0, 0.34)
R(sky130_fd_sc_hd__and2_2_, licon, [(1.325,0.295,1.495,0.465), (1.745,0.295,1.915,0.465), (2.385,0.295,2.555,0.465), (0.365,0.435,0.535,0.605), (2.385,0.635,2.555,0.805), (0.38,1.075,0.55,1.245), (1.085,1.075,1.255,1.245), (1.625,1.075,1.795,1.245), (1.325,1.915,1.495,2.085), (1.845,1.915,2.015,2.085), (0.365,2.045,0.535,2.215), (0.785,2.045,0.955,2.215), (1.325,2.255,1.495,2.425), (1.845,2.255,2.015,2.425)])
A(sky130_fd_sc_hd__and2_2_, li1_pin, 1.985, 0.425, 0.17, 0.17, 1, 6, 0, 0.34)
A(sky130_fd_sc_hd__and2_2_, li1_pin, 0.145, 1.105, 0.17, 0.17, 3, 1, 0.46, 0)
R(sky130_fd_sc_hd__and2_2_, li1, [(0,-0.085,2.76,0.085), (1.245,0.085,1.495,0.545), (2.385,0.085,2.675,0.885), (1.665,0.255,2.215,0.545), (0.285,0.355,0.615,0.715), (1.965,0.545,2.215,1.915), (0.285,0.715,1.675,0.905), (1.505,0.905,1.675,0.995), (1.505,0.995,1.795,1.325), (0.085,1.075,0.775,1.325), (1.005,1.075,1.335,1.325), (0.085,1.325,0.4,1.765), (1.505,1.325,1.675,1.575), (2.385,1.495,2.675,2.635), (0.735,1.575,1.675,1.745), (0.735,1.745,1.035,2.295), (1.245,1.915,1.575,2.635), (1.765,1.915,2.215,2.465), (0.285,1.965,0.565,2.635), (0,2.635,2.76,2.805)])
A(sky130_fd_sc_hd__and2_2_, mcon, 0.145, -0.085, 0.17, 0.17, 6, 2, 0.46, 2.72)
R(sky130_fd_sc_hd__and2_2_, met1_pin, [(0.145,-0.085,0.315,0.085), (0.145,2.635,0.315,2.805)])
R(sky130_fd_sc_hd__and2_2_, met1, [(0,-0.24,2.76,0.24), (0,2.48,2.76,2.96)])
R(sky130_fd_sc_hd__and2_2_, hvtp, [(1.365,1.305,2.415,1.675), (0.405,1.675,2.415,2.455), (1.365,2.455,2.415,2.665)])
R(sky130_fd_sc_hd__and2_2_, stdcell_id, [(0,0,2.76,2.72)])
R(sky130_fd_sc_hd__and2_2_, nsdm, [(1.16,0.11,2.74,0.25), (0.18,0.25,2.74,0.92), (1.16,0.92,2.74,1.01)])
R(sky130_fd_sc_hd__and2_2_, psdm, [(1.11,1.36,2.74,1.73), (0.18,1.73,2.74,2.4), (1.16,2.4,2.74,2.61)])
R(sky130_fd_sc_hd__and2_2_, npc, [(0.28,0.975,0.65,1.345), (0.985,0.975,1.895,1.345)])
R(sky130_fd_sc_hd__and2_2_, pwell_pin, [(0.145,-0.085,0.315,0.085)])
R(sky130_fd_sc_hd__and2_2_, boundary, [(0,0,2.76,2.72)])
sky130_fd_sc_hd__and2_2_.add(gdstk.Label('VPWR', (0.23,2.72), layer=68, texttype=5))
sky130_fd_sc_hd__and2_2_.add(gdstk.Label('VGND', (0.23,0), layer=68, texttype=5))
sky130_fd_sc_hd__and2_2_.add(gdstk.Label('VNB', (0.23,0), layer=64, texttype=59))
sky130_fd_sc_hd__and2_2_.add(gdstk.Label('VPB', (0.23,2.72), layer=64, texttype=5))
sky130_fd_sc_hd__and2_2_.add(gdstk.Label('A', (0.69,1.19), layer=67, texttype=5))
sky130_fd_sc_hd__and2_2_.add(gdstk.Label('A', (0.23,1.19), layer=67, texttype=5))
sky130_fd_sc_hd__and2_2_.add(gdstk.Label('X', (2.07,0.85), layer=67, texttype=5))
sky130_fd_sc_hd__and2_2_.add(gdstk.Label('X', (2.07,0.51), layer=67, texttype=5))
sky130_fd_sc_hd__and2_2_.add(gdstk.Label('X', (2.07,1.19), layer=67, texttype=5))
sky130_fd_sc_hd__and2_2_.add(gdstk.Label('X', (2.07,1.53), layer=67, texttype=5))
sky130_fd_sc_hd__and2_2_.add(gdstk.Label('X', (2.07,1.87), layer=67, texttype=5))
sky130_fd_sc_hd__and2_2_.add(gdstk.Label('X', (2.07,2.21), layer=67, texttype=5))
sky130_fd_sc_hd__and2_2_.add(gdstk.Label('B', (1.15,1.19), layer=67, texttype=5))

pfd_with_buffers_tap = lib.new_cell('pfd_with_buffers_tap')
R(pfd_with_buffers_tap, nwell, [(27.49,-6.61,28.73,-5.16), (24.54,-3.27,25.78,-1.82), (30.36,0.08,31.6,1.53)])
R(pfd_with_buffers_tap, tap, [(27.61,-7.86,28.03,-7.13), (27.67,-6.36,28.5,-5.39), (24.32,-4.61,24.74,-3.88), (24.72,-3.02,25.55,-2.05), (30.44,-1.18,30.86,-0.45), (30.54,0.33,31.37,1.3)])
R(pfd_with_buffers_tap, licon, [(27.74,-7.555,27.91,-7.385), (28,-6.15,28.17,-5.98), (28,-5.81,28.17,-5.64), (24.45,-4.305,24.62,-4.135), (25.05,-2.81,25.22,-2.64), (25.05,-2.47,25.22,-2.3), (30.57,-0.875,30.74,-0.705), (30.87,0.54,31.04,0.71), (30.87,0.88,31.04,1.05)])
R(pfd_with_buffers_tap, li1, [(27.29,-8.15,28.03,-8), (27.14,-8,28.03,-7.97), (27.61,-7.97,28.03,-7.13), (27.14,-7.05,27.46,-6.55), (11.18,-7.02,11.42,-6.75), (20.34,-7.01,20.51,-6.78), (24.23,-6.99,25.12,-6.75), (22.48,-6.95,22.65,-6.77), (27.67,-6.36,28.5,-5.44), (12.51,-5.62,12.7,-5.42), (27.3,-5.44,28.5,-5.25), (24.32,-4.81,24.74,-4.65), (23.1,-4.65,24.74,-4.64), (24.32,-4.64,24.74,-3.88), (19.04,-3.69,19.29,-3.22), (21.1,-3.66,22.14,-3.41), (23.07,-3.59,23.32,-3.42), (23.76,-3.58,24.01,-3.41), (24.72,-3.02,25.55,-2.1), (24.35,-2.1,25.55,-1.9), (30.17,-1.47,30.86,-1.36), (30.02,-1.36,30.86,-1.28), (30.44,-1.28,30.86,-0.45), (10.79,-0.38,11.4,-0.1), (30.03,-0.38,30.28,0.1), (20.3,-0.36,20.54,-0.07), (24.48,-0.3,25.34,-0.07), (27.18,-0.3,28.04,-0.07), (22.68,-0.29,22.85,-0.11), (30.54,0.33,31.37,1.24), (12.5,1.02,12.69,1.31), (30.17,1.24,31.37,1.45)])
R(pfd_with_buffers_tap, mcon, [(20.34,-6.98,20.51,-6.81), (11.215,-6.97,11.385,-6.8), (22.48,-6.945,22.65,-6.775), (27.215,-6.885,27.385,-6.715), (23.11,-3.59,23.28,-3.42), (23.8,-3.58,23.97,-3.41), (19.08,-3.54,19.25,-3.37), (10.83,-0.325,11,-0.155), (11.19,-0.325,11.36,-0.155), (20.335,-0.3,20.505,-0.13), (22.68,-0.285,22.85,-0.115), (30.07,-0.225,30.24,-0.055)])
R(pfd_with_buffers_tap, met1_pin, [(30.53,-9.3,31.53,-8.3), (7.86,-7.44,8.86,-6.44), (31.83,-7.31,32.83,-6.31), (7.86,-0.61,8.86,0.39), (31.83,-0.56,32.83,0.44), (9.56,1.57,10.56,2.57)])
R(pfd_with_buffers_tap, met1, [(30.53,-9.3,31.53,-8.31), (20.66,-8.31,31.53,-7.83), (30.87,-7.83,31.53,-4.97), (7.86,-7.44,8.86,-7.33), (7.86,-7.33,8.91,-6.59), (31.83,-7.31,32.83,-7.09), (27.11,-7.11,27.92,-7.09), (27.11,-7.09,28.49,-6.49), (31.78,-7.09,32.83,-6.49), (11.05,-7.08,11.5,-6.68), (20.31,-7.07,20.54,-7.05), (22.38,-7.07,22.74,-6.76), (20.2,-7.05,20.64,-6.74), (18.22,-6.94,18.65,-6.66), (22.45,-6.76,22.68,-6.71), (20.31,-6.74,20.54,-6.72), (7.86,-6.59,8.86,-6.44), (31.83,-6.49,32.83,-6.31), (9.56,-5.59,11.13,-5.11), (20.66,-5.58,28.26,-5.11), (9.56,-5.11,10.22,-2.25), (18.91,-4.97,31.53,-4.49), (30.87,-4.49,31.53,-1.63), (19.01,-3.75,19.32,-3.7), (18.64,-3.7,19.32,-3.2), (21.1,-3.66,22.17,-3.4), (22.96,-3.65,23.4,-3.34), (23.66,-3.65,24.1,-3.34), (19.01,-3.2,19.32,-3.16), (9.56,-2.25,18.91,-1.77), (21.21,-2.25,21.59,-1.77), (9.56,-1.77,10.22,1.09), (20.66,-1.63,22.52,-1.15), (24.81,-1.63,27.87,-1.15), (28.26,-1.63,31.53,-1.15), (7.86,-0.61,8.86,0.39), (31.83,-0.56,32.83,-0.44), (30,-0.44,32.83,0.16), (20.27,-0.42,20.57,-0.37), (10.73,-0.41,11.46,-0.07), (20.2,-0.37,20.64,-0.06), (22.57,-0.36,22.93,-0.03), (18.22,-0.28,18.65,0), (20.27,-0.06,20.57,-0.01), (31.83,0.16,32.83,0.44), (9.56,1.09,11.12,1.57), (24.81,1.09,26.59,1.57), (27.49,1.09,27.87,1.57), (28.75,1.09,30.52,1.57), (20.66,1.1,22.7,1.57), (9.56,1.57,10.56,2.57)])
R(pfd_with_buffers_tap, via, [(8.575,-7.195,8.725,-7.045), (27.6,-7.035,27.75,-6.885), (31.93,-7.025,32.08,-6.875), (22.485,-6.99,22.635,-6.84), (20.345,-6.97,20.495,-6.82), (11.2,-6.955,11.35,-6.805), (8.575,-6.875,8.725,-6.725), (18.36,-6.875,18.51,-6.725), (27.6,-6.715,27.75,-6.565), (31.93,-6.705,32.08,-6.555), (23.105,-3.57,23.255,-3.42), (23.805,-3.57,23.955,-3.42), (18.745,-3.525,18.895,-3.375), (19.065,-3.525,19.215,-3.375), (8.455,-0.335,8.605,-0.185), (10.86,-0.315,11.01,-0.165), (11.18,-0.315,11.33,-0.165), (20.345,-0.29,20.495,-0.14), (22.675,-0.27,22.825,-0.12), (18.36,-0.215,18.51,-0.065), (8.455,-0.015,8.605,0.135)])
R(pfd_with_buffers_tap, met2, [(8.37,-7.3,11.54,-6.55), (27.48,-7.16,27.87,-7.09), (31.83,-7.14,32.18,-7.09), (20.25,-7.12,22.72,-6.7), (27.48,-7.09,32.18,-6.49), (18.27,-6.99,18.6,-3.75), (20.25,-6.7,20.59,-3.66), (27.48,-6.49,27.87,-6.44), (31.83,-6.49,32.18,-6.44), (18.27,-3.75,19.27,-3.15), (23.01,-3.7,23.35,-3.66), (23.71,-3.7,24.05,-2.82), (20.25,-3.66,23.35,-3.37), (23.01,-3.37,23.35,-3.29), (18.27,-3.15,18.6,0.05), (20.25,-2.82,24.05,-2.53), (20.25,-2.53,20.59,-0.41), (8.32,-0.47,11.405,0.27), (20.25,-0.41,22.92,0.03), (8.72,0.27,11.405,0.3)])
R(pfd_with_buffers_tap, nsdm, [(22.015,-7.96,22.38,-7.06), (27.545,-6.485,28.625,-5.265), (24.595,-3.145,25.675,-1.925), (30.415,0.205,31.495,1.425)])
R(pfd_with_buffers_tap, psdm, [(27.485,-7.985,28.155,-7.05), (26.86,-7.05,28.155,-7.005), (26.86,-7.005,27.865,-6.71), (22.015,-6.71,22.38,-5.46), (27.24,-6.71,27.865,-6.665), (24.195,-4.735,24.865,-3.755), (30.315,-1.305,30.985,-0.37), (29.73,-0.37,30.985,-0.325), (29.73,-0.325,30.695,-0.03), (30.11,-0.03,30.695,0.015)])
pfd_with_buffers_tap.add(gdstk.Reference(sky130_fd_sc_hd__tapvpwr, (10.63,-8.07)))
pfd_with_buffers_tap.add(gdstk.Reference(sky130_fd_sc_hd__dfrbp_2, (11.09,-8.07)))
pfd_with_buffers_tap.add(gdstk.Reference(sky130_fd_sc_hd__inv_4_0, (22.32,-8.07)))
pfd_with_buffers_tap.add(gdstk.Reference(sky130_fd_sc_hd__inv_4_0, (25,-8.07)))
pfd_with_buffers_tap.add(gdstk.Reference(sky130_fd_sc_hd__and2_2_, (24.35,-4.73), rotation=pi, x_reflection=True))
pfd_with_buffers_tap.add(gdstk.Reference(sky130_fd_sc_hd__inv_4_0, (21.21,-4.73), rotation=pi, x_reflection=True))
pfd_with_buffers_tap.add(gdstk.Reference(sky130_fd_sc_hd__tapvpwr, (10.63,-1.39)))
pfd_with_buffers_tap.add(gdstk.Reference(sky130_fd_sc_hd__dfrbp_2, (11.09,-1.39)))
pfd_with_buffers_tap.add(gdstk.Reference(sky130_fd_sc_hd__inv_4_0, (22.51,-1.39)))
pfd_with_buffers_tap.add(gdstk.Reference(sky130_fd_sc_hd__inv_4_0, (25.19,-1.39)))
pfd_with_buffers_tap.add(gdstk.Reference(sky130_fd_sc_hd__inv_4_0, (27.87,-1.39)))
pfd_with_buffers_tap.add(gdstk.Label('QA', (32.33,-0.06), layer=68, texttype=5))
pfd_with_buffers_tap.add(gdstk.Label('A', (8.36,-0.11), layer=68, texttype=5))
pfd_with_buffers_tap.add(gdstk.Label('VDD', (10.06,2.07), layer=68, texttype=5))
pfd_with_buffers_tap.add(gdstk.Label('VSS', (31.03,-8.8), layer=68, texttype=5))
pfd_with_buffers_tap.add(gdstk.Label('B', (8.36,-6.94), layer=68, texttype=5))
pfd_with_buffers_tap.add(gdstk.Label('QB', (32.33,-6.81), layer=68, texttype=5))

lib.write_gds('pfd_with_buffers_tap.gds')
